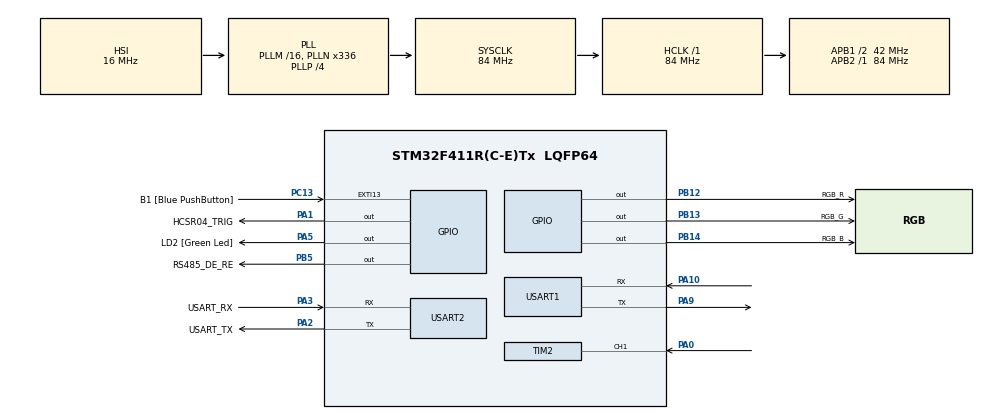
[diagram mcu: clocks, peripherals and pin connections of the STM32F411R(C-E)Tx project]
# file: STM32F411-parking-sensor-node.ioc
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Mcu.Family=STM32F4
Mcu.Name=STM32F411R(C-E)Tx
Mcu.Package=LQFP64
NVIC.PriorityGroup=NVIC_PRIORITYGROUP_0
NVIC.TIM2_IRQn=true\:0\:0\:false\:false\:true\:true\:true\:true
NVIC.USART1_IRQn=true\:0\:0\:false\:false\:true\:true\:true\:true
PA0-WKUP.Signal=S_TIM2_CH1_ETR
PA1.GPIO_Label=HCSR04_TRIG
PA1.Signal=GPIO_Output
PA10.Mode=Asynchronous
PA10.Signal=USART1_RX
PA13.GPIO_Label=TMS
PA13.Mode=Serial_Wire
PA13.Signal=SYS_JTMS-SWDIO
PA14.GPIO_Label=TCK
PA14.Mode=Serial_Wire
PA14.Signal=SYS_JTCK-SWCLK
PA2.GPIO_Label=USART_TX
PA2.Mode=Asynchronous
PA2.Signal=USART2_TX
PA3.GPIO_Label=USART_RX
PA3.Mode=Asynchronous
PA3.Signal=USART2_RX
PA5.GPIO_Label=LD2 [Green Led]
PA5.Signal=GPIO_Output
PA9.Mode=Asynchronous
PA9.Signal=USART1_TX
PB12.GPIO_Label=RGB_R
PB12.Signal=GPIO_Output
PB13.GPIO_Label=RGB_G
PB13.Signal=GPIO_Output
PB14.GPIO_Label=RGB_B
PB14.Signal=GPIO_Output
PB3.GPIO_Label=SWO
PB3.Signal=SYS_JTDO-SWO
PB5.GPIO_Label=RS485_DE_RE
PB5.GPIO_PuPd=GPIO_NOPULL
PB5.Signal=GPIO_Output
PC13-ANTI_TAMP.GPIO_Label=B1 [Blue PushButton]
PC13-ANTI_TAMP.GPIO_ModeDefaultEXTI=GPIO_MODE_IT_FALLING
PC13-ANTI_TAMP.Signal=GPXTI13
PC14-OSC32_IN.Mode=LSE-External-Oscillator
PC14-OSC32_IN.Signal=RCC_OSC32_IN
PC15-OSC32_OUT.Mode=LSE-External-Oscillator
PC15-OSC32_OUT.Signal=RCC_OSC32_OUT
PH0\ -\ OSC_IN.Mode=HSE-External-Clock-Source
PH0\ -\ OSC_IN.Signal=RCC_OSC_IN
PH1\ -\ OSC_OUT.Mode=HSE-External-Clock-Source
PH1\ -\ OSC_OUT.Signal=RCC_OSC_OUT
ProjectManager.HeapSize=0x200
ProjectManager.StackSize=0x400
ProjectManager.TargetToolchain=STM32CubeIDE
RCC.48MHZClocksFreq_Value=84000000
RCC.AHBFreq_Value=84000000
RCC.APB1CLKDivider=RCC_HCLK_DIV2
RCC.APB1Freq_Value=42000000
RCC.APB1TimFreq_Value=84000000
RCC.APB2Freq_Value=84000000
RCC.APB2TimFreq_Value=84000000
RCC.CortexFreq_Value=84000000
RCC.FLatency-AdvancedSettings=FLASH_LATENCY_2
RCC.HCLKFreq_Value=84000000
RCC.HSE_VALUE=8000000
RCC.HSI_VALUE=16000000
RCC.PLLN=336
RCC.PLLP=RCC_PLLP_DIV4
RCC.SYSCLKFreq_VALUE=84000000
RCC.SYSCLKSource=RCC_SYSCLKSOURCE_PLLCLK
RCC.VCOOutputFreq_Value=336000000
SH.S_TIM2_CH1_ETR.0=TIM2_CH1,Input_Capture1_from_TI1
TIM2.Channel-Input_Capture1_from_TI1=TIM_CHANNEL_1
TIM2.Prescaler=83
USART1.VirtualMode=VM_ASYNC
USART2.VirtualMode=VM_ASYNC
VP_TIM2_VS_ClockSourceINT.Mode=Internal
board=NUCLEO-F411RE

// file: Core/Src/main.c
/* USER CODE BEGIN Header */
/* USER CODE END Header */
#include "main.h"

/* USER CODE BEGIN Includes */
#include "hcsr04.h"
#include "parking_logic.h"
#include "rgb_led.h"
#include "app_config.h"
#include "modbus_rtu.h"
#include <stdio.h>

/* USER CODE END Includes */

TIM_HandleTypeDef htim2;

UART_HandleTypeDef huart1;
UART_HandleTypeDef huart2;

/* USER CODE BEGIN PV */

static char uart_buf[64];
static uint32_t last_measure_tick = 0;

static uint8_t modbus_rx_buf[MODBUS_REQUEST_SIZE];
static uint8_t modbus_tx_buf[MODBUS_MAX_RESPONSE_SIZE];

static volatile uint8_t modbus_request_ready = 0U;

/* USER CODE END PV */

void SystemClock_Config(void);
static void MX_GPIO_Init(void);
static void MX_USART2_UART_Init(void);
static void MX_USART1_UART_Init(void);
static void MX_TIM2_Init(void);

int main(void)
{

  /* MCU Configuration--------------------------------------------------------*/

  /* Reset of all peripherals, Initializes the Flash interface and the Systick. */
  HAL_Init();

  /* Configure the system clock */
  SystemClock_Config();

  /* Initialize all configured peripherals */
  MX_GPIO_Init();
  MX_USART2_UART_Init();
  MX_USART1_UART_Init();
  MX_TIM2_Init();
  /* USER CODE BEGIN 2 */

  HCSR04_Init(&htim2);
  AppConfig_Init();
  ParkingLogic_Init();
  RGB_LED_Init();

  HAL_UART_Receive_IT(
      &huart1,
      modbus_rx_buf,
      MODBUS_REQUEST_SIZE
  );

  /* USER CODE END 2 */

  /* Infinite loop */
  /* USER CODE BEGIN WHILE */
  while (1)
  {
	  HCSR04_Task();

	  if (HCSR04_IsDataReady())
	  {
	      uint32_t distance_mm =
	          HCSR04_GetDistanceMm();

	      uint8_t distance_valid =
	          HCSR04_IsDistanceValid();

	      ParkingLogic_Update(
	          distance_mm,
	          distance_valid,
	          HAL_GetTick()
	      );

	      ParkingState_t parking_state =
	          ParkingLogic_GetState();

	      const char *state_str;

	      switch (parking_state)
	      {
	          case PARKING_STATE_FREE:
	              RGB_LED_SetColor(RGB_LED_GREEN);
	              break;

	          case PARKING_STATE_OCCUPIED:
	              RGB_LED_SetColor(RGB_LED_RED);
	              break;

	          case PARKING_STATE_ERROR:
	          default:
	              RGB_LED_SetColor(RGB_LED_BLUE);
	              break;
	      }

	      switch (parking_state)
	      {
	          case PARKING_STATE_FREE:
	              state_str = "FREE";
	              break;

	          case PARKING_STATE_OCCUPIED:
	              state_str = "OCCUPIED";
	              break;

	          case PARKING_STATE_ERROR:
	          default:
	              state_str = "ERROR";
	              break;
	      }

	      int len = snprintf(
	          uart_buf,
	          sizeof(uart_buf),
	          "Dist:%lu mm Valid:%u Parking:%s Err:%u\r\n",
	          (unsigned long)distance_mm,
	          distance_valid,
	          state_str,
	          HCSR04_GetLastError()
	      );

	      HAL_UART_Transmit(
	          &huart2,
	          (uint8_t *)uart_buf,
	          len,
	          100
	      );

	      HCSR04_ClearDataReady();
	  }

	    uint32_t now = HAL_GetTick();

	    if ((now - last_measure_tick) >= 100U)
	    {
	        last_measure_tick = now;
	        HCSR04_StartMeasurement();
	    }

	    if (modbus_request_ready)
	    {
	        uint16_t response_len =
	            ModbusRTU_ProcessRequest(
	                modbus_rx_buf,
	                MODBUS_REQUEST_SIZE,
	                modbus_tx_buf,
	                sizeof(modbus_tx_buf)
	            );

	        if (response_len > 0U)
	        {
	            /* RS485 transmit mode: DE=1, /RE=1 */
	            HAL_GPIO_WritePin(
	                RS485_DE_RE_GPIO_Port,
	                RS485_DE_RE_Pin,
	                GPIO_PIN_SET
	            );

	            HAL_UART_Transmit(
	                &huart1,
	                modbus_tx_buf,
	                response_len,
	                100U
	            );

	            /* RS485 receive mode: DE=0, /RE=0 */
	            HAL_GPIO_WritePin(
	                RS485_DE_RE_GPIO_Port,
	                RS485_DE_RE_Pin,
	                GPIO_PIN_RESET
	            );
	        }

	        modbus_request_ready = 0U;

	        HAL_UART_Receive_IT(
	            &huart1,
	            modbus_rx_buf,
	            MODBUS_REQUEST_SIZE
	        );
	    }
    /* USER CODE END WHILE */

  }
}

void SystemClock_Config(void)
{
  RCC_OscInitTypeDef RCC_OscInitStruct = {0};
  RCC_ClkInitTypeDef RCC_ClkInitStruct = {0};

  /** Configure the main internal regulator output voltage
  */
  __HAL_RCC_PWR_CLK_ENABLE();
  __HAL_PWR_VOLTAGESCALING_CONFIG(PWR_REGULATOR_VOLTAGE_SCALE1);

  /** Initializes the RCC Oscillators according to the specified parameters
  * in the RCC_OscInitTypeDef structure.
  */
  RCC_OscInitStruct.OscillatorType = RCC_OSCILLATORTYPE_HSI;
  RCC_OscInitStruct.HSIState = RCC_HSI_ON;
  RCC_OscInitStruct.HSICalibrationValue = RCC_HSICALIBRATION_DEFAULT;
  RCC_OscInitStruct.PLL.PLLState = RCC_PLL_ON;
  RCC_OscInitStruct.PLL.PLLSource = RCC_PLLSOURCE_HSI;
  RCC_OscInitStruct.PLL.PLLM = 16;
  RCC_OscInitStruct.PLL.PLLN = 336;
  RCC_OscInitStruct.PLL.PLLP = RCC_PLLP_DIV4;
  RCC_OscInitStruct.PLL.PLLQ = 4;
  if (HAL_RCC_OscConfig(&RCC_OscInitStruct) != HAL_OK)
  {
    Error_Handler();
  }

  /** Initializes the CPU, AHB and APB buses clocks
  */
  RCC_ClkInitStruct.ClockType = RCC_CLOCKTYPE_HCLK|RCC_CLOCKTYPE_SYSCLK
                              |RCC_CLOCKTYPE_PCLK1|RCC_CLOCKTYPE_PCLK2;
  RCC_ClkInitStruct.SYSCLKSource = RCC_SYSCLKSOURCE_PLLCLK;
  RCC_ClkInitStruct.AHBCLKDivider = RCC_SYSCLK_DIV1;
  RCC_ClkInitStruct.APB1CLKDivider = RCC_HCLK_DIV2;
  RCC_ClkInitStruct.APB2CLKDivider = RCC_HCLK_DIV1;

  if (HAL_RCC_ClockConfig(&RCC_ClkInitStruct, FLASH_LATENCY_2) != HAL_OK)
  {
    Error_Handler();
  }
}

static void MX_TIM2_Init(void)
{

  TIM_ClockConfigTypeDef sClockSourceConfig = {0};
  TIM_MasterConfigTypeDef sMasterConfig = {0};
  TIM_IC_InitTypeDef sConfigIC = {0};

  htim2.Instance = TIM2;
  htim2.Init.Prescaler = 83;
  htim2.Init.CounterMode = TIM_COUNTERMODE_UP;
  htim2.Init.Period = 4294967295;
  htim2.Init.ClockDivision = TIM_CLOCKDIVISION_DIV1;
  htim2.Init.AutoReloadPreload = TIM_AUTORELOAD_PRELOAD_DISABLE;
  if (HAL_TIM_Base_Init(&htim2) != HAL_OK)
  {
    Error_Handler();
  }
  sClockSourceConfig.ClockSource = TIM_CLOCKSOURCE_INTERNAL;
  if (HAL_TIM_ConfigClockSource(&htim2, &sClockSourceConfig) != HAL_OK)
  {
    Error_Handler();
  }
  if (HAL_TIM_IC_Init(&htim2) != HAL_OK)
  {
    Error_Handler();
  }
  sMasterConfig.MasterOutputTrigger = TIM_TRGO_RESET;
  sMasterConfig.MasterSlaveMode = TIM_MASTERSLAVEMODE_DISABLE;
  if (HAL_TIMEx_MasterConfigSynchronization(&htim2, &sMasterConfig) != HAL_OK)
  {
    Error_Handler();
  }
  sConfigIC.ICPolarity = TIM_INPUTCHANNELPOLARITY_RISING;
  sConfigIC.ICSelection = TIM_ICSELECTION_DIRECTTI;
  sConfigIC.ICPrescaler = TIM_ICPSC_DIV1;
  sConfigIC.ICFilter = 0;
  if (HAL_TIM_IC_ConfigChannel(&htim2, &sConfigIC, TIM_CHANNEL_1) != HAL_OK)
  {
    Error_Handler();
  }

}

static void MX_USART1_UART_Init(void)
{

  huart1.Instance = USART1;
  huart1.Init.BaudRate = 115200;
  huart1.Init.WordLength = UART_WORDLENGTH_8B;
  huart1.Init.StopBits = UART_STOPBITS_1;
  huart1.Init.Parity = UART_PARITY_NONE;
  huart1.Init.Mode = UART_MODE_TX_RX;
  huart1.Init.HwFlowCtl = UART_HWCONTROL_NONE;
  huart1.Init.OverSampling = UART_OVERSAMPLING_16;
  if (HAL_UART_Init(&huart1) != HAL_OK)
  {
    Error_Handler();
  }

}

static void MX_USART2_UART_Init(void)
{

  huart2.Instance = USART2;
  huart2.Init.BaudRate = 115200;
  huart2.Init.WordLength = UART_WORDLENGTH_8B;
  huart2.Init.StopBits = UART_STOPBITS_1;
  huart2.Init.Parity = UART_PARITY_NONE;
  huart2.Init.Mode = UART_MODE_TX_RX;
  huart2.Init.HwFlowCtl = UART_HWCONTROL_NONE;
  huart2.Init.OverSampling = UART_OVERSAMPLING_16;
  if (HAL_UART_Init(&huart2) != HAL_OK)
  {
    Error_Handler();
  }

}

static void MX_GPIO_Init(void)
{
  GPIO_InitTypeDef GPIO_InitStruct = {0};

  /* GPIO Ports Clock Enable */
  __HAL_RCC_GPIOC_CLK_ENABLE();
  __HAL_RCC_GPIOH_CLK_ENABLE();
  __HAL_RCC_GPIOA_CLK_ENABLE();
  __HAL_RCC_GPIOB_CLK_ENABLE();

  /*Configure GPIO pin Output Level */
  HAL_GPIO_WritePin(GPIOA, HCSR04_TRIG_Pin|LD2_Pin, GPIO_PIN_RESET);

  /*Configure GPIO pin Output Level */
  HAL_GPIO_WritePin(GPIOB, RGB_R_Pin|RGB_G_Pin|RGB_B_Pin|RS485_DE_RE_Pin, GPIO_PIN_RESET);

  /*Configure GPIO pin : B1_Pin */
  GPIO_InitStruct.Pin = B1_Pin;
  GPIO_InitStruct.Mode = GPIO_MODE_IT_FALLING;
  GPIO_InitStruct.Pull = GPIO_NOPULL;
  HAL_GPIO_Init(B1_GPIO_Port, &GPIO_InitStruct);

  /*Configure GPIO pins : HCSR04_TRIG_Pin LD2_Pin */
  GPIO_InitStruct.Pin = HCSR04_TRIG_Pin|LD2_Pin;
  GPIO_InitStruct.Mode = GPIO_MODE_OUTPUT_PP;
  GPIO_InitStruct.Pull = GPIO_NOPULL;
  GPIO_InitStruct.Speed = GPIO_SPEED_FREQ_LOW;
  HAL_GPIO_Init(GPIOA, &GPIO_InitStruct);

  /*Configure GPIO pins : RGB_R_Pin RGB_G_Pin RGB_B_Pin RS485_DE_RE_Pin */
  GPIO_InitStruct.Pin = RGB_R_Pin|RGB_G_Pin|RGB_B_Pin|RS485_DE_RE_Pin;
  GPIO_InitStruct.Mode = GPIO_MODE_OUTPUT_PP;
  GPIO_InitStruct.Pull = GPIO_NOPULL;
  GPIO_InitStruct.Speed = GPIO_SPEED_FREQ_LOW;
  HAL_GPIO_Init(GPIOB, &GPIO_InitStruct);

}

/* USER CODE BEGIN 4 */
void HAL_TIM_IC_CaptureCallback(TIM_HandleTypeDef *htim)
{
	HCSR04_InputCaptureCallback(htim);
}

void HAL_UART_RxCpltCallback(UART_HandleTypeDef *huart)
{
    if (huart == &huart1)
    {
        modbus_request_ready = 1U;
    }
}
/* USER CODE END 4 */

void Error_Handler(void)
{
  __disable_irq();
  while (1)
  {
  }
}
